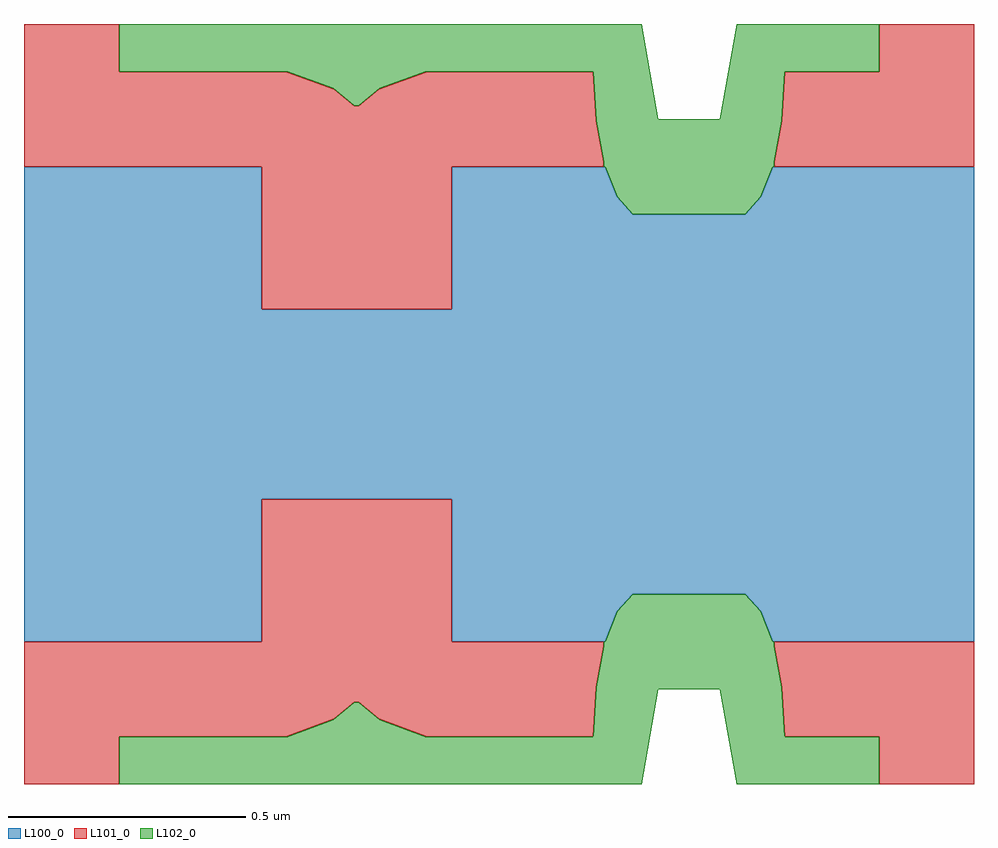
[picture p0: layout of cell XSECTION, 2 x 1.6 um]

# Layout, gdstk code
import gdstk
lib = gdstk.Library(unit=1e-6, precision=1e-09)
def P(c, l, *ps):  # polygons
    for p in ps: c.add(gdstk.Polygon(p, *l))
L100_0 = (100, 0)
L101_0 = (101, 0)
L102_0 = (102, 0)

xsection = lib.new_cell('XSECTION')
P(xsection, L100_0, [(0,-1),(0,0),(0.5,0),(0.5,-0.3),(0.9,-0.3),(0.9,0),(1.224,0),(1.249,-0.064),(1.282,-0.1),(1.518,-0.1),(1.551,-0.064),(1.576,0),(2,0),(2,-1),(1.576,-1),(1.551,-0.936),(1.518,-0.9),(1.282,-0.9),(1.249,-0.936),(1.224,-1),(0.9,-1),(0.9,-0.7),(0.5,-0.7),(0.5,-1)])
P(xsection, L101_0, [(1.8,-1.3),(1.8,-1.2),(1.602,-1.2),(1.595,-1.096),(1.579,-1.01),(1.579,-1),(2,-1),(2,-1.3)],
  [(0,-1.3),(0,-1),(0.5,-1),(0.5,-0.7),(0.9,-0.7),(0.9,-1),(1.221,-1),(1.221,-1.01),(1.205,-1.096),(1.198,-1.2),(0.847,-1.2),(0.748,-1.164),(0.705,-1.128),(0.695,-1.128),(0.652,-1.164),(0.553,-1.2),(0.2,-1.2),(0.2,-1.3)],
  [(0.5,-0.3),(0.5,0),(0,0),(0,0.3),(0.2,0.3),(0.2,0.2),(0.553,0.2),(0.652,0.164),(0.695,0.128),(0.705,0.128),(0.748,0.164),(0.847,0.2),(1.198,0.2),(1.205,0.096),(1.221,0.01),(1.221,0),(0.9,0),(0.9,-0.3)],
  [(1.579,0),(1.579,0.01),(1.595,0.096),(1.602,0.2),(1.8,0.2),(1.8,0.3),(2,0.3),(2,0)])
P(xsection, L102_0, [(0.2,-1.3),(0.2,-1.2),(0.553,-1.2),(0.652,-1.164),(0.695,-1.128),(0.705,-1.128),(0.748,-1.164),(0.847,-1.2),(1.198,-1.2),(1.205,-1.096),(1.221,-1.01),(1.221,-1),(1.224,-1),(1.249,-0.936),(1.282,-0.9),(1.518,-0.9),(1.551,-0.936),(1.576,-1),(1.579,-1),(1.579,-1.01),(1.595,-1.096),(1.602,-1.2),(1.8,-1.2),(1.8,-1.3),(1.5,-1.3),(1.465,-1.1),(1.335,-1.1),(1.3,-1.3)],
  [(1.282,-0.1),(1.249,-0.064),(1.224,0),(1.221,0),(1.221,0.01),(1.205,0.096),(1.198,0.2),(0.847,0.2),(0.748,0.164),(0.705,0.128),(0.695,0.128),(0.652,0.164),(0.553,0.2),(0.2,0.2),(0.2,0.3),(1.3,0.3),(1.335,0.1),(1.465,0.1),(1.5,0.3),(1.8,0.3),(1.8,0.2),(1.602,0.2),(1.595,0.096),(1.579,0.01),(1.579,0),(1.576,0),(1.551,-0.064),(1.518,-0.1)])

lib.write_gds('XSECTION.gds')
